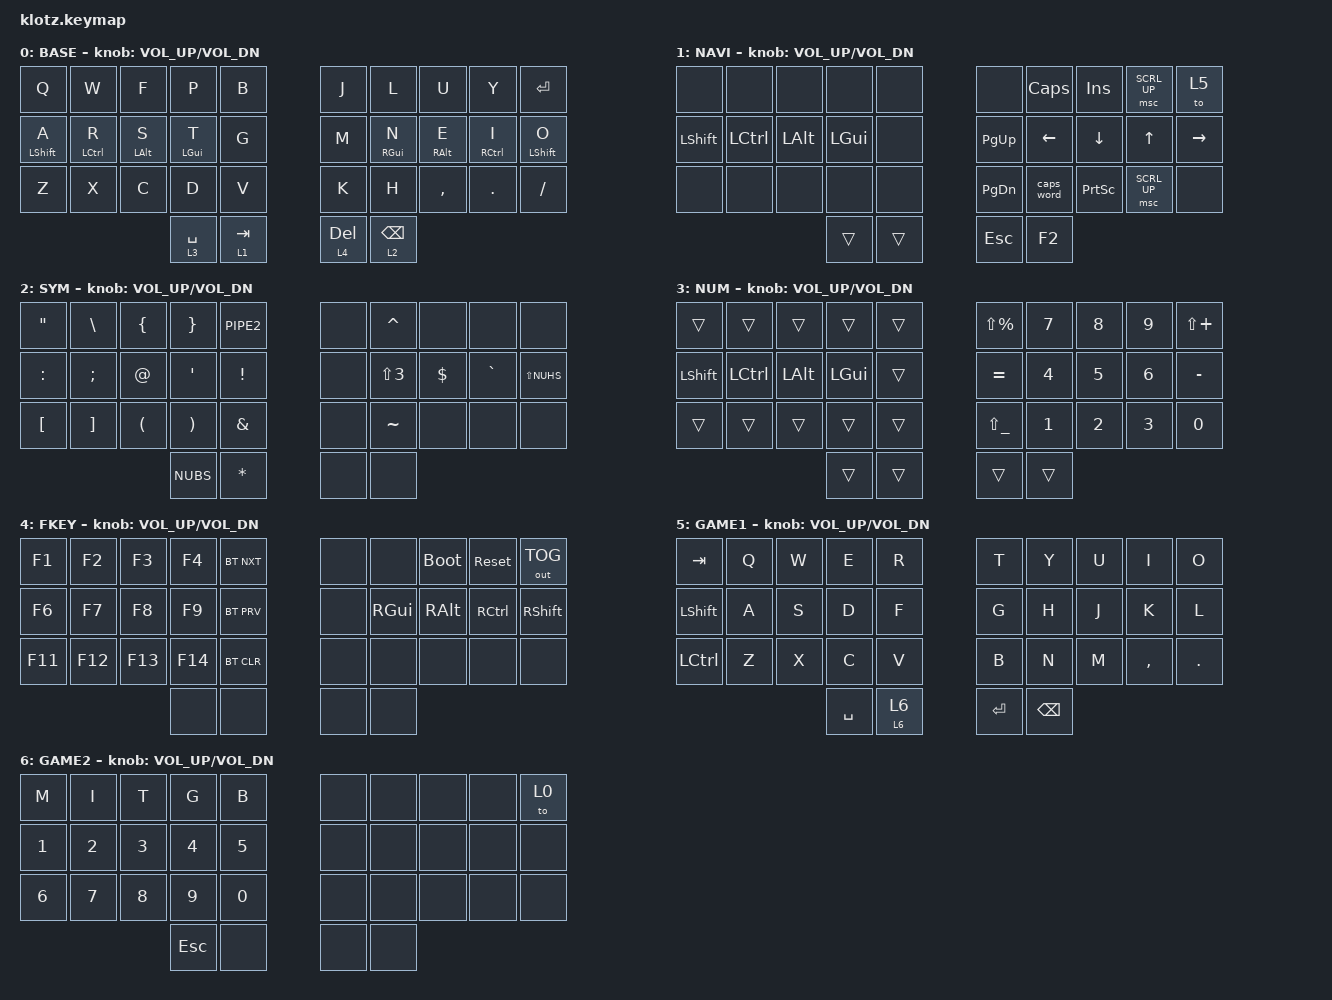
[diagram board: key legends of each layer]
#include <behaviors.dtsi>
#include <dt-bindings/zmk/bt.h>
#include <dt-bindings/zmk/keys.h>
#include <dt-bindings/zmk/outputs.h>
#include <dt-bindings/zmk/pointing.h>

#define BASE  0
#define NAV   1
#define SYM   2
#define NUM   3
#define FKEY  4
#define GAME1 5
#define GAME2 6

&mt {
    quick-tap-ms = <100>;
    global-quick-tap;
    flavor = "tap-preferred";
    tapping-term-ms = <170>;
};

/ {
    combos {
        compatible = "zmk,combos";

        combo_esc {
            timeout-ms = <50>;
            key-positions = <0 1>;
            bindings = <&kp ESC>;
        };

        combo_tvp {
            timeout-ms = <100>;
            key-positions = <11 12 13>;
            bindings = <&tog 0>;
        };
    };

    macros {
        gif: gif {
            label = "giphy";
            compatible = "zmk,behavior-macro";
            #binding-cells = <0>;
            bindings =
                <&macro_press>,
                <&kp LSHFT>,
                <&macro_tap>,
                <&kp N2>,
                <&macro_release>,
                <&kp LSHFT>,
                <&macro_tap>,
                <&kp G &kp I &kp F>;
        };

        slm: sticky_layer_key {
            compatible = "zmk,behavior-hold-tap";
            #binding-cells = <2>;
            bindings = <&mo>, <&sl>;

            flavor = "tap-preferred";
            tapping-term-ms = <200>;
        };

        qusp: qusp {
            label = "quote space";
            compatible = "zmk,behavior-macro";
            #binding-cells = <0>;
            bindings = <&macro_tap>, <&kp DQT>, <&macro_tap>, <&kp SPACE>;
        };

        sqsp: sqsp {
            label = "quote space";
            compatible = "zmk,behavior-macro";
            #binding-cells = <0>;
            bindings = <&macro_tap>, <&kp SQT>, <&macro_tap>, <&kp SPACE>;
        };
    };

    behaviors {
    };

    keymap {
        compatible = "zmk,keymap";

        BASE {
            label = "BASE";
            bindings = <
&kp Q        &kp W        &kp F       &kp P        &kp B      &kp J      &kp L       &kp U       &kp Y        &kp RET
&mt LSHFT A  &mt LCTRL R  &mt LALT S  &mt LGUI T   &kp G      &kp M      &mt RGUI N  &mt RALT E  &mt RCTRL I  &mt LSHFT O
&kp Z        &kp X        &kp C       &kp D        &kp V      &kp K      &kp H       &kp COMMA   &kp DOT      &kp FSLH
                                      &lt 3 SPACE  &lt 1 TAB  &lt 4 DEL  &lt 2 BSPC
            >;

            sensor-bindings = <&inc_dec_kp C_VOL_UP C_VOL_DN>;
        };

        NAV {
            label = "NAVI";
            bindings = <
&none      &none      &none         &none     &none   &none      &kp CAPS    &kp INSERT        &msc SCRL_UP  &to 5
&kp LSHFT  &kp LCTRL  &kp LEFT_ALT  &kp LGUI  &none   &kp PG_UP  &kp LEFT    &kp DOWN  &kp UP  &kp RIGHT
&none      &none      &none         &none     &none   &kp PG_DN  &caps_word  &kp PSCRN         &msc SCRL_UP  &none
                                    &trans    &trans  &kp ESC    &kp F2
            >;

            sensor-bindings = <&inc_dec_kp C_VOL_UP C_VOL_DN>;
        };

        SYM {
            label = "SYM";
            bindings = <
&kp DQT    &kp BSLH  &kp LEFT_BRACE        &kp RIGHT_BRACE        &kp PIPE2  &none  &kp CARET   &none       &none      &none
&kp COLON  &kp SEMI  &kp AT                &kp SQT                &kp EXCL   &none  &kp LS(N3)  &kp DOLLAR  &kp GRAVE  &kp LS(NUHS)
&kp LBKT   &kp RBKT  &kp LEFT_PARENTHESIS  &kp RIGHT_PARENTHESIS  &kp AMPS   &none  &kp TILDE   &none       &none      &none
                                           &kp NUBS               &kp STAR   &none  &none
            >;

            sensor-bindings = <&inc_dec_kp C_VOL_UP C_VOL_DN>;
        };

        NUM {
            label = "NUM";
            bindings = <
&trans     &trans     &trans    &trans    &trans  &kp LS(PRCNT)  &kp N7  &kp N8  &kp N9  &kp LS(PLUS)
&kp LSHFT  &kp LCTRL  &kp LALT  &kp LGUI  &trans  &kp EQUAL      &kp N4  &kp N5  &kp N6  &kp MINUS
&trans     &trans     &trans    &trans    &trans  &kp LS(UNDER)  &kp N1  &kp N2  &kp N3  &kp N0
                                &trans    &trans  &trans         &trans
            >;

            sensor-bindings = <&inc_dec_kp C_VOL_UP C_VOL_DN>;
        };

        FKEY {
            label = "FKEY";
            bindings = <
&kp F1   &kp F2   &kp F3   &kp F4   &bt BT_NXT  &none  &none     &bootloader  &sys_reset  &out OUT_TOG
&kp F6   &kp F7   &kp F8   &kp F9   &bt BT_PRV  &none  &kp RGUI  &kp RALT     &kp RCTRL   &kp RSHFT
&kp F11  &kp F12  &kp F13  &kp F14  &bt BT_CLR  &none  &none     &none        &none       &none
                           &none    &none       &none  &none
            >;

            sensor-bindings = <&inc_dec_kp C_VOL_UP C_VOL_DN>;
        };

        GAME1 {
            label = "GAME1";
            bindings = <
&kp TAB    &kp Q  &kp W  &kp E      &kp R     &kp T      &kp Y     &kp U  &kp I      &kp O
&kp LSHFT  &kp A  &kp S  &kp D      &kp F     &kp G      &kp H     &kp J  &kp K      &kp L
&kp LCTRL  &kp Z  &kp X  &kp C      &kp V     &kp B      &kp N     &kp M  &kp COMMA  &kp DOT
                         &kp SPACE  &slm 6 6  &kp ENTER  &kp BSPC
            >;

            sensor-bindings = <&inc_dec_kp C_VOL_UP C_VOL_DN>;
        };

        GAME2 {
            label = "GAME2";
            bindings = <
&kp M   &kp I   &kp T   &kp G    &kp B   &none  &none  &none  &none  &to 0
&kp N1  &kp N2  &kp N3  &kp N4   &kp N5  &none  &none  &none  &none  &none
&kp N6  &kp N7  &kp N8  &kp N9   &kp N0  &none  &none  &none  &none  &none
                        &kp ESC  &none   &none  &none
            >;

            sensor-bindings = <&inc_dec_kp C_VOL_UP C_VOL_DN>;
        };
    };
};
